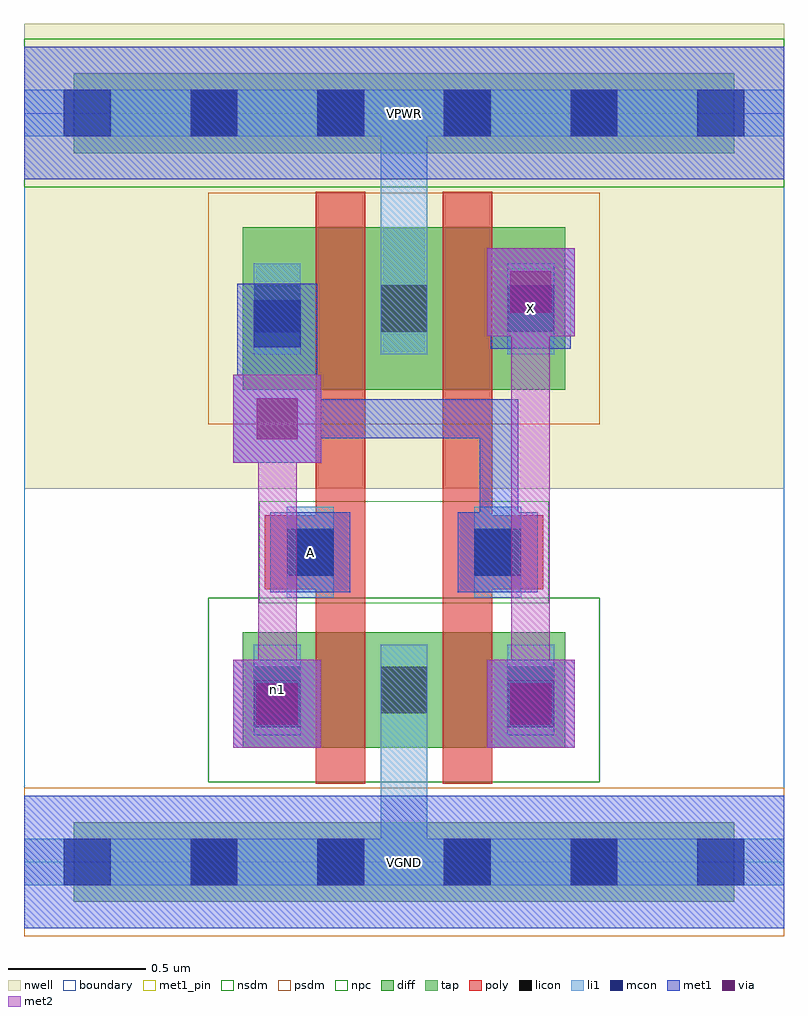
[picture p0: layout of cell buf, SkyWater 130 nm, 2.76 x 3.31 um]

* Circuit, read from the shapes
.subckt buf A VGND VPWR X n1
XM1 VGND A n1 VGND sky130_fd_pr__nfet_01v8 w=0.42 l=0.18
XM2 X n1 VGND VGND sky130_fd_pr__nfet_01v8 w=0.42 l=0.18
XM3 VPWR A n1 VPWR sky130_fd_pr__pfet_01v8 w=0.59 l=0.18
XM4 X n1 VPWR VPWR sky130_fd_pr__pfet_01v8 w=0.59 l=0.18
.ends

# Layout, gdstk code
import gdstk
lib = gdstk.Library(unit=1e-6, precision=1e-09)
def R(c, l, rs):  # rectangles x0, y0, x1, y1
    for r in rs: c.add(gdstk.rectangle(r[:2], r[2:], *l))
def A(c, l, x, y, w, h, nx, ny, dx, dy):  # array of equal rectangles
    R(c, l, [(x+i*dx, y+j*dy, x+i*dx+w, y+j*dy+h) for i in range(nx) for j in range(ny)])
nwell = (64, 20)
diff = (65, 20)
tap = (65, 44)
poly = (66, 20)
licon = (66, 44)
li1 = (67, 20)
mcon = (67, 44)
met1_pin = (68, 16)
met1 = (68, 20)
via = (68, 44)
met2 = (69, 20)
nsdm = (93, 44)
psdm = (94, 20)
npc = (95, 20)
boundary = (235, 4)

buf = lib.new_cell('buf')
R(buf, nwell, [(0,1.355,2.76,3.045)])
R(buf, diff, [(0.795,0.415,1.965,0.835), (0.795,1.715,1.965,2.305)])
R(buf, tap, [(0.18,-0.145,2.58,0.145), (0.18,2.575,2.58,2.865)])
R(buf, poly, [(1.06,0.285,1.24,2.435), (1.52,0.285,1.7,2.435), (0.875,0.99,1.205,1.26), (1.555,0.99,1.885,1.26)])
A(buf, licon, 0.605, -0.085, 0.17, 0.17, 4, 2, 0.46, 2.72)
A(buf, licon, 0.835, 0.54, 0.17, 0.17, 3, 2, 0.46, 1.385)
R(buf, licon, [(0.955,1.04,1.125,1.21), (1.635,1.04,1.805,1.21)])
A(buf, li1, 0.835, 0.46, 0.17, 0.33, 3, 2, 0.46, 1.385)
R(buf, li1, [(0,-0.085,2.76,0.085), (1.295,-0.085,1.465,0.79), (0.955,0.96,1.125,1.29), (1.635,0.96,1.805,1.29), (1.295,1.845,1.465,2.805), (0,2.635,2.76,2.805)])
A(buf, mcon, 0.145, -0.085, 0.17, 0.17, 6, 2, 0.46, 2.72)
R(buf, mcon, [(0.835,0.49,1.005,0.66), (1.755,0.49,1.925,0.66), (0.955,1.04,1.125,1.21), (1.635,1.04,1.805,1.21), (0.835,1.87,1.005,2.04), (1.755,1.925,1.925,2.095)])
R(buf, met1_pin, [(0,-0.24,2.76,0.24), (0.895,0.98,1.185,1.27), (1.695,1.865,1.985,2.155), (0,2.48,2.76,2.96)])
R(buf, met1, [(0,-0.24,2.76,0.24), (0.76,0.415,1.08,0.735), (1.68,0.415,2,0.735), (0.775,0.43,1.065,0.72), (1.695,0.43,1.985,0.72), (0.895,0.98,1.185,1.27), (1.575,0.98,1.865,1.27), (1.655,1.08,1.795,1.22), (1.655,1.08,1.795,1.68), (0.76,1.45,1.08,1.77), (0.85,1.54,1.795,1.68), (0.85,1.54,0.99,2.025), (0.85,1.68,1.065,1.81), (0.775,1.77,1.065,1.81), (0.775,1.81,1.065,2.1), (1.695,1.865,1.985,2.155), (1.68,1.91,2,2.23), (1.77,2,1.91,2.14), (0,2.48,2.76,2.96)])
R(buf, via, [(0.845,0.5,0.995,0.65), (1.765,0.5,1.915,0.65), (0.845,1.535,0.995,1.685), (1.765,1.995,1.915,2.145)])
R(buf, met2, [(0.76,0.415,1.08,0.735), (1.68,0.415,2,0.735), (0.85,0.505,0.99,1.68), (1.77,0.505,1.91,2.14), (0.76,1.45,1.08,1.77), (1.68,1.91,2,2.23)])
R(buf, nsdm, [(0.67,0.29,2.09,0.96), (0,2.45,2.76,2.99)])
R(buf, psdm, [(0,-0.27,2.76,0.27), (0.67,1.59,2.09,2.43)])
R(buf, npc, [(0.855,0.94,1.905,1.31)])
R(buf, boundary, [(0,0,2.76,2.72)])
buf.add(gdstk.Label('n1', (0.92,0.625), layer=67, texttype=5))
buf.add(gdstk.Label('A', (1.04,1.125), layer=68, texttype=5))
buf.add(gdstk.Label('X', (1.84,2.01), layer=68, texttype=5))
buf.add(gdstk.Label('VPWR', (1.38,2.72), layer=68, texttype=5))
buf.add(gdstk.Label('VGND', (1.38,0), layer=68, texttype=5))
buf.add(gdstk.Label('A', (1.04,1.125), layer=68, texttype=16))
buf.add(gdstk.Label('X', (1.84,2.01), layer=68, texttype=16))
buf.add(gdstk.Label('VPWR', (1.38,2.72), layer=68, texttype=16))
buf.add(gdstk.Label('VGND', (1.38,0), layer=68, texttype=16))

lib.write_gds('buf.gds')
